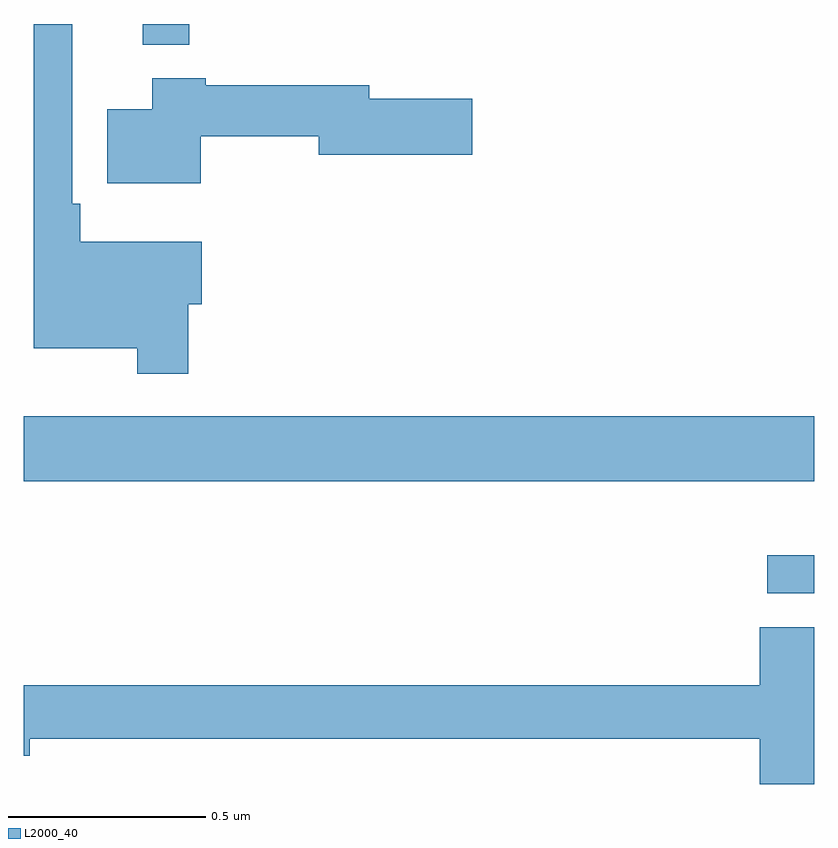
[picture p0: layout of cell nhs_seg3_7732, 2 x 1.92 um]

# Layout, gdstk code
import gdstk
lib = gdstk.Library(unit=1e-6, precision=1e-09)
def R(c, l, rs):  # rectangles x0, y0, x1, y1
    for r in rs: c.add(gdstk.rectangle(r[:2], r[2:], *l))
def P(c, l, *ps):  # polygons
    for p in ps: c.add(gdstk.Polygon(p, *l))
L2000_40 = (2000, 40)

nhs_seg3_7732 = lib.new_cell('nhs_seg3_7732')
R(nhs_seg3_7732, L2000_40, [(208.881,705.96,209,706.056), (207,706.244,209,706.408), (207.302,707.348,207.419,707.4)])
P(nhs_seg3_7732, L2000_40, [(207.416,706.691),(207.451,706.691),(207.451,706.849),(207.143,706.849),(207.143,706.945),(207.123,706.945),(207.123,707.4),(207.026,707.4),(207.026,706.58),(207.288,706.58),(207.288,706.515),(207.416,706.515)],
  [(207.448,707.116),(207.746,707.116),(207.746,707.069),(208.135,707.069),(208.135,707.211),(207.874,707.211),(207.874,707.245),(207.461,707.245),(207.461,707.263),(207.326,707.263),(207.326,707.185),(207.212,707.185),(207.212,706.997),(207.448,706.997)],
  [(209,705.875),(208.862,705.875),(208.862,705.728),(207,705.728),(207,705.55),(207.016,705.55),(207.016,705.592),(208.862,705.592),(208.862,705.478),(209,705.478)])

lib.write_gds('nhs_seg3_7732.gds')
